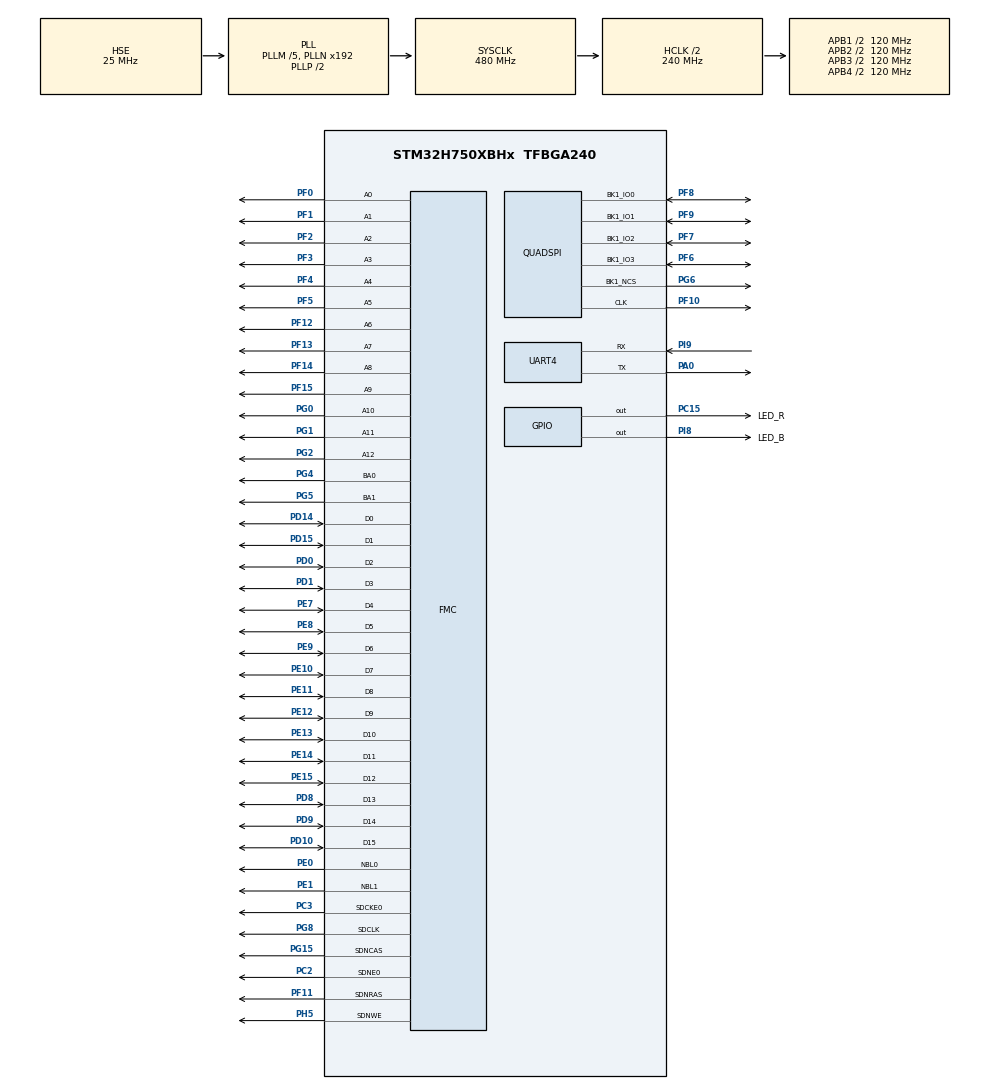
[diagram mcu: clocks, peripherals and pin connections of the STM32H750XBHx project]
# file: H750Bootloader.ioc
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CORTEX_M7.AccessPermission-Cortex_Memory_Protection_Unit_Region0_Settings=MPU_REGION_FULL_ACCESS
CORTEX_M7.AccessPermission-Cortex_Memory_Protection_Unit_Region1_Settings=MPU_REGION_PRIV_RO
CORTEX_M7.AccessPermission-Cortex_Memory_Protection_Unit_Region2_Settings=MPU_REGION_FULL_ACCESS
CORTEX_M7.AccessPermission-Cortex_Memory_Protection_Unit_Region3_Settings=MPU_REGION_FULL_ACCESS
CORTEX_M7.AccessPermission-Cortex_Memory_Protection_Unit_Region4_Settings=MPU_REGION_FULL_ACCESS
CORTEX_M7.AccessPermission-Cortex_Memory_Protection_Unit_Region5_Settings=MPU_REGION_PRIV_RO
CORTEX_M7.AccessPermission-Cortex_Memory_Protection_Unit_Region6_Settings=MPU_REGION_FULL_ACCESS
CORTEX_M7.AccessPermission_S-Cortex_Memory_Protection_Unit_Region1_Settings_S=MPU_REGION_FULL_ACCESS
CORTEX_M7.AccessPermission_S-Cortex_Memory_Protection_Unit_Region2_Settings_S=MPU_REGION_PRIV_RO
CORTEX_M7.AccessPermission_S-Cortex_Memory_Protection_Unit_Region3_Settings_S=MPU_REGION_FULL_ACCESS
CORTEX_M7.AccessPermission_S-Cortex_Memory_Protection_Unit_Region4_Settings_S=MPU_REGION_FULL_ACCESS
CORTEX_M7.AccessPermission_S-Cortex_Memory_Protection_Unit_Region5_Settings_S=MPU_REGION_PRIV_RO
CORTEX_M7.AccessPermission_S-Cortex_Memory_Protection_Unit_Region6_Settings_S=MPU_REGION_FULL_ACCESS
CORTEX_M7.BaseAddress-Cortex_Memory_Protection_Unit_Region0_Settings=0x00000000
CORTEX_M7.BaseAddress-Cortex_Memory_Protection_Unit_Region1_Settings=0x08000000
CORTEX_M7.BaseAddress-Cortex_Memory_Protection_Unit_Region2_Settings=0x20000000
CORTEX_M7.BaseAddress-Cortex_Memory_Protection_Unit_Region3_Settings=0x24040000
CORTEX_M7.BaseAddress-Cortex_Memory_Protection_Unit_Region4_Settings=0x60000000
CORTEX_M7.BaseAddress-Cortex_Memory_Protection_Unit_Region5_Settings=0x90000000
CORTEX_M7.BaseAddress-Cortex_Memory_Protection_Unit_Region6_Settings=0xC0000000
CORTEX_M7.BaseAddress_S-Cortex_Memory_Protection_Unit_Region1_Settings_S=0x00000000
CORTEX_M7.BaseAddress_S-Cortex_Memory_Protection_Unit_Region2_Settings_S=0x08000000
CORTEX_M7.BaseAddress_S-Cortex_Memory_Protection_Unit_Region3_Settings_S=0x20000000
CORTEX_M7.BaseAddress_S-Cortex_Memory_Protection_Unit_Region4_Settings_S=0x24040000
CORTEX_M7.BaseAddress_S-Cortex_Memory_Protection_Unit_Region5_Settings_S=0x90000000
CORTEX_M7.BaseAddress_S-Cortex_Memory_Protection_Unit_Region6_Settings_S=0xC0000000
CORTEX_M7.CPU_DCache=Disabled
CORTEX_M7.CPU_ICache=Disabled
CORTEX_M7.DisableExec-Cortex_Memory_Protection_Unit_Region4_Settings=MPU_INSTRUCTION_ACCESS_DISABLE
CORTEX_M7.DisableExec-Cortex_Memory_Protection_Unit_Region6_Settings=MPU_INSTRUCTION_ACCESS_DISABLE
CORTEX_M7.DisableExec_S-Cortex_Memory_Protection_Unit_Region6_Settings_S=MPU_INSTRUCTION_ACCESS_DISABLE
CORTEX_M7.Enable-Cortex_Memory_Protection_Unit_Region0_Settings=MPU_REGION_ENABLE
CORTEX_M7.Enable-Cortex_Memory_Protection_Unit_Region1_Settings=MPU_REGION_ENABLE
CORTEX_M7.Enable-Cortex_Memory_Protection_Unit_Region2_Settings=MPU_REGION_ENABLE
CORTEX_M7.Enable-Cortex_Memory_Protection_Unit_Region3_Settings=MPU_REGION_ENABLE
CORTEX_M7.Enable-Cortex_Memory_Protection_Unit_Region4_Settings=MPU_REGION_ENABLE
CORTEX_M7.Enable-Cortex_Memory_Protection_Unit_Region5_Settings=MPU_REGION_ENABLE
CORTEX_M7.Enable-Cortex_Memory_Protection_Unit_Region6_Settings=MPU_REGION_ENABLE
CORTEX_M7.Enable_S-Cortex_Memory_Protection_Unit_Region1_Settings_S=MPU_REGION_ENABLE
CORTEX_M7.Enable_S-Cortex_Memory_Protection_Unit_Region2_Settings_S=MPU_REGION_ENABLE
CORTEX_M7.Enable_S-Cortex_Memory_Protection_Unit_Region3_Settings_S=MPU_REGION_ENABLE
CORTEX_M7.Enable_S-Cortex_Memory_Protection_Unit_Region4_Settings_S=MPU_REGION_ENABLE
CORTEX_M7.Enable_S-Cortex_Memory_Protection_Unit_Region5_Settings_S=MPU_REGION_ENABLE
CORTEX_M7.Enable_S-Cortex_Memory_Protection_Unit_Region6_Settings_S=MPU_REGION_ENABLE
CORTEX_M7.IsBufferable-Cortex_Memory_Protection_Unit_Region4_Settings=MPU_ACCESS_BUFFERABLE
CORTEX_M7.IsBufferable-Cortex_Memory_Protection_Unit_Region6_Settings=MPU_ACCESS_BUFFERABLE
CORTEX_M7.IsBufferable_S-Cortex_Memory_Protection_Unit_Region6_Settings_S=MPU_ACCESS_BUFFERABLE
CORTEX_M7.IsCacheable-Cortex_Memory_Protection_Unit_Region1_Settings=MPU_ACCESS_CACHEABLE
CORTEX_M7.IsCacheable-Cortex_Memory_Protection_Unit_Region4_Settings=MPU_ACCESS_CACHEABLE
CORTEX_M7.IsCacheable-Cortex_Memory_Protection_Unit_Region5_Settings=MPU_ACCESS_CACHEABLE
CORTEX_M7.IsCacheable-Cortex_Memory_Protection_Unit_Region6_Settings=MPU_ACCESS_CACHEABLE
CORTEX_M7.IsCacheable_S-Cortex_Memory_Protection_Unit_Region2_Settings_S=MPU_ACCESS_CACHEABLE
CORTEX_M7.IsCacheable_S-Cortex_Memory_Protection_Unit_Region5_Settings_S=MPU_ACCESS_CACHEABLE
CORTEX_M7.IsCacheable_S-Cortex_Memory_Protection_Unit_Region6_Settings_S=MPU_ACCESS_CACHEABLE
CORTEX_M7.IsShareable-Cortex_Memory_Protection_Unit_Region3_Settings=MPU_ACCESS_SHAREABLE
CORTEX_M7.IsShareable_S-Cortex_Memory_Protection_Unit_Region4_Settings_S=MPU_ACCESS_SHAREABLE
CORTEX_M7.MPU_Control=__NULL
CORTEX_M7.Number-Cortex_Memory_Protection_Unit_Region1_Settings=MPU_REGION_NUMBER1
CORTEX_M7.Number-Cortex_Memory_Protection_Unit_Region2_Settings=MPU_REGION_NUMBER2
CORTEX_M7.Number-Cortex_Memory_Protection_Unit_Region3_Settings=MPU_REGION_NUMBER3
CORTEX_M7.Number-Cortex_Memory_Protection_Unit_Region4_Settings=MPU_REGION_NUMBER4
CORTEX_M7.Number-Cortex_Memory_Protection_Unit_Region5_Settings=MPU_REGION_NUMBER5
CORTEX_M7.Number-Cortex_Memory_Protection_Unit_Region6_Settings=MPU_REGION_NUMBER6
CORTEX_M7.Number_S-Cortex_Memory_Protection_Unit_Region2_Settings_S=MPU_REGION_NUMBER2
CORTEX_M7.Number_S-Cortex_Memory_Protection_Unit_Region3_Settings_S=MPU_REGION_NUMBER3
CORTEX_M7.Number_S-Cortex_Memory_Protection_Unit_Region4_Settings_S=MPU_REGION_NUMBER4
CORTEX_M7.Number_S-Cortex_Memory_Protection_Unit_Region5_Settings_S=MPU_REGION_NUMBER5
CORTEX_M7.Number_S-Cortex_Memory_Protection_Unit_Region6_Settings_S=MPU_REGION_NUMBER6
CORTEX_M7.Number_S-Cortex_Memory_Protection_Unit_Region7_Settings_S=MPU_REGION_NUMBER7
CORTEX_M7.Size-Cortex_Memory_Protection_Unit_Region0_Settings=MPU_REGION_SIZE_64KB
CORTEX_M7.Size-Cortex_Memory_Protection_Unit_Region1_Settings=MPU_REGION_SIZE_128KB
CORTEX_M7.Size-Cortex_Memory_Protection_Unit_Region2_Settings=MPU_REGION_SIZE_128KB
CORTEX_M7.Size-Cortex_Memory_Protection_Unit_Region3_Settings=MPU_REGION_SIZE_256KB
CORTEX_M7.Size-Cortex_Memory_Protection_Unit_Region4_Settings=MPU_REGION_SIZE_32MB
CORTEX_M7.Size-Cortex_Memory_Protection_Unit_Region5_Settings=MPU_REGION_SIZE_16MB
CORTEX_M7.Size-Cortex_Memory_Protection_Unit_Region6_Settings=MPU_REGION_SIZE_32MB
CORTEX_M7.Size_S-Cortex_Memory_Protection_Unit_Region1_Settings_S=MPU_REGION_SIZE_64KB
CORTEX_M7.Size_S-Cortex_Memory_Protection_Unit_Region2_Settings_S=MPU_REGION_SIZE_128KB
CORTEX_M7.Size_S-Cortex_Memory_Protection_Unit_Region3_Settings_S=MPU_REGION_SIZE_128KB
CORTEX_M7.Size_S-Cortex_Memory_Protection_Unit_Region4_Settings_S=MPU_REGION_SIZE_256KB
CORTEX_M7.Size_S-Cortex_Memory_Protection_Unit_Region5_Settings_S=MPU_REGION_SIZE_16MB
CORTEX_M7.Size_S-Cortex_Memory_Protection_Unit_Region6_Settings_S=MPU_REGION_SIZE_32MB
CORTEX_M7.SubRegionDisable-Cortex_Memory_Protection_Unit_Region3_Settings=0xE0
CORTEX_M7.SubRegionDisable_S-Cortex_Memory_Protection_Unit_Region4_Settings_S=0xE0
CORTEX_M7.TypeExtField-Cortex_Memory_Protection_Unit_Region0_Settings=MPU_TEX_LEVEL1
CORTEX_M7.TypeExtField-Cortex_Memory_Protection_Unit_Region2_Settings=MPU_TEX_LEVEL1
CORTEX_M7.TypeExtField-Cortex_Memory_Protection_Unit_Region3_Settings=MPU_TEX_LEVEL1
CORTEX_M7.TypeExtField-Cortex_Memory_Protection_Unit_Region4_Settings=MPU_TEX_LEVEL1
CORTEX_M7.TypeExtField-Cortex_Memory_Protection_Unit_Region6_Settings=MPU_TEX_LEVEL1
CORTEX_M7.TypeExtField_S-Cortex_Memory_Protection_Unit_Region1_Settings_S=MPU_TEX_LEVEL1
CORTEX_M7.TypeExtField_S-Cortex_Memory_Protection_Unit_Region3_Settings_S=MPU_TEX_LEVEL1
CORTEX_M7.TypeExtField_S-Cortex_Memory_Protection_Unit_Region4_Settings_S=MPU_TEX_LEVEL1
CORTEX_M7.TypeExtField_S-Cortex_Memory_Protection_Unit_Region6_Settings_S=MPU_TEX_LEVEL1
CORTEX_M7.default_mode_Activation=0
FMC.BankMapConfig=FMC_SWAPBMAP_DISABLE
FMC.CASLatency1=FMC_SDRAM_CAS_LATENCY_2
FMC.ColumnBitsNumber1=FMC_SDRAM_COLUMN_BITS_NUM_9
FMC.ExitSelfRefreshDelay1=8
FMC.LoadToActiveDelay1=2
FMC.RCDDelay1=2
FMC.RPDelay1=2
FMC.ReadBurst1=FMC_SDRAM_RBURST_ENABLE
FMC.ReadBurst2=FMC_SDRAM_RBURST_ENABLE
FMC.ReadPipeDelay1=FMC_SDRAM_RPIPE_DELAY_0
FMC.RowCycleDelay1=6
FMC.RowCycleDelay2=6
FMC.SDClockPeriod1=FMC_SDRAM_CLOCK_PERIOD_2
FMC.SDClockPeriod2=FMC_SDRAM_CLOCK_PERIOD_2
FMC.SelfRefreshTime1=6
FMC.WriteRecoveryTime1=4
Mcu.Family=STM32H7
Mcu.Name=STM32H750XBHx
Mcu.Package=TFBGA240
NVIC.PriorityGroup=NVIC_PRIORITYGROUP_4
PA0.GPIO_Speed=GPIO_SPEED_FREQ_LOW
PA0.Mode=Asynchronous
PA0.Signal=UART4_TX
PA13\ (JTMS/SWDIO).Mode=Serial_Wire
PA13\ (JTMS/SWDIO).Signal=DEBUG_JTMS-SWDIO
PA14\ (JTCK/SWCLK).Mode=Serial_Wire
PA14\ (JTCK/SWCLK).Signal=DEBUG_JTCK-SWCLK
PC14-OSC32_IN\ (OSC32_IN).Mode=LSE-External-Clock-Source
PC14-OSC32_IN\ (OSC32_IN).Signal=RCC_OSC32_IN
PC15-OSC32_OUT\ (OSC32_OUT).GPIO_Label=LED_R
PC15-OSC32_OUT\ (OSC32_OUT).GPIO_ModeDefaultOutputPP=GPIO_MODE_OUTPUT_PP
PC15-OSC32_OUT\ (OSC32_OUT).GPIO_Speed=GPIO_SPEED_FREQ_LOW
PC15-OSC32_OUT\ (OSC32_OUT).PinState=GPIO_PIN_SET
PC15-OSC32_OUT\ (OSC32_OUT).Signal=GPIO_Output
PC2.Mode=SdramChipSelect1_1
PC2.Signal=FMC_SDNE0
PC3.Mode=SdramChipSelect1_1
PC3.Signal=FMC_SDCKE0
PD0.Signal=FMC_D2_DA2
PD1.Signal=FMC_D3_DA3
PD10.Signal=FMC_D15_DA15
PD14.Signal=FMC_D0_DA0
PD15.Signal=FMC_D1_DA1
PD8.Signal=FMC_D13_DA13
PD9.Signal=FMC_D14_DA14
PE0.Signal=FMC_NBL0
PE1.Signal=FMC_NBL1
PE10.Signal=FMC_D7_DA7
PE11.Signal=FMC_D8_DA8
PE12.Signal=FMC_D9_DA9
PE13.Signal=FMC_D10_DA10
PE14.Signal=FMC_D11_DA11
PE15.Signal=FMC_D12_DA12
PE7.Signal=FMC_D4_DA4
PE8.Signal=FMC_D5_DA5
PE9.Signal=FMC_D6_DA6
PF0.Signal=FMC_A0
PF1.Signal=FMC_A1
PF10.GPIO_Speed=GPIO_SPEED_FREQ_VERY_HIGH
PF10.Mode=Single Bank 1
PF10.Signal=QUADSPI_CLK
PF11.Signal=FMC_SDNRAS
PF12.Signal=FMC_A6
PF13.Signal=FMC_A7
PF14.Signal=FMC_A8
PF15.Signal=FMC_A9
PF2.Signal=FMC_A2
PF3.Signal=FMC_A3
PF4.Signal=FMC_A4
PF5.Signal=FMC_A5
PF6.GPIO_Speed=GPIO_SPEED_FREQ_VERY_HIGH
PF6.Mode=Single Bank 1
PF6.Signal=QUADSPI_BK1_IO3
PF7.GPIO_Speed=GPIO_SPEED_FREQ_VERY_HIGH
PF7.Mode=Single Bank 1
PF7.Signal=QUADSPI_BK1_IO2
PF8.GPIO_Speed=GPIO_SPEED_FREQ_VERY_HIGH
PF8.Mode=Single Bank 1
PF8.Signal=QUADSPI_BK1_IO0
PF9.GPIO_Speed=GPIO_SPEED_FREQ_VERY_HIGH
PF9.Mode=Single Bank 1
PF9.Signal=QUADSPI_BK1_IO1
PG0.Signal=FMC_A10
PG1.Signal=FMC_A11
PG15.Signal=FMC_SDNCAS
PG2.Signal=FMC_A12
PG4.Signal=FMC_A14_BA0
PG5.Signal=FMC_A15_BA1
PG6.GPIO_Speed=GPIO_SPEED_FREQ_VERY_HIGH
PG6.Mode=Single Bank 1
PG6.Signal=QUADSPI_BK1_NCS
PG8.Signal=FMC_SDCLK
PH0-OSC_IN\ (PH0).Mode=HSE-External-Oscillator
PH0-OSC_IN\ (PH0).Signal=RCC_OSC_IN
PH1-OSC_OUT\ (PH1).Mode=HSE-External-Oscillator
PH1-OSC_OUT\ (PH1).Signal=RCC_OSC_OUT
PH5.Signal=FMC_SDNWE
PI8.GPIO_Label=LED_B
PI8.GPIO_ModeDefaultOutputPP=GPIO_MODE_OUTPUT_PP
PI8.GPIO_Speed=GPIO_SPEED_FREQ_LOW
PI8.PinState=GPIO_PIN_SET
PI8.Signal=GPIO_Output
PI9.GPIO_Speed=GPIO_SPEED_FREQ_LOW
PI9.Mode=Asynchronous
PI9.Signal=UART4_RX
ProjectManager.HeapSize=0x200
ProjectManager.StackSize=0x400
ProjectManager.TargetToolchain=CMake
QUADSPI.ClockPrescaler=1
QUADSPI.FlashSize=24
RCC.ADCFreq_Value=300000000
RCC.APB1Freq_Value=120000000
RCC.APB2Freq_Value=120000000
RCC.APB3Freq_Value=120000000
RCC.APB4Freq_Value=120000000
RCC.CortexFreq_Value=480000000
RCC.D1PPRE=RCC_APB3_DIV2
RCC.D2PPRE1=RCC_APB1_DIV2
RCC.D2PPRE2=RCC_APB2_DIV2
RCC.D3PPRE=RCC_APB4_DIV2
RCC.DIVM1=5
RCC.DIVM2=2
RCC.DIVM3=1
RCC.DIVN1=192
RCC.DIVN2=48
RCC.DIVN3=6
RCC.DIVQ2=3
RCC.DIVQ3=1
RCC.DIVR2=3
RCC.DIVR3=1
RCC.FMCCLockSelection=RCC_FMCCLKSOURCE_PLL2
RCC.HCLKFreq_Value=240000000
RCC.HPRE=RCC_HCLK_DIV2
RCC.PLL2FRACN=0
RCC.PLL3FRACN=0
RCC.PLLFRACN=0
RCC.PLLSourceVirtual=RCC_PLLSOURCE_HSE
RCC.ProductRev=revV
RCC.QSPICLockSelection=RCC_QSPICLKSOURCE_PLL2
RCC.SYSCLKFreq_VALUE=480000000
RCC.SYSCLKSource=RCC_SYSCLKSOURCE_PLLCLK
RCC.USBFreq_Value=480000000
SH.FMC_A0.0=FMC_A0,13b-sda1
SH.FMC_A1.0=FMC_A1,13b-sda1
SH.FMC_A10.0=FMC_A10,13b-sda1
SH.FMC_A11.0=FMC_A11,13b-sda1
SH.FMC_A12.0=FMC_A12,13b-sda1
SH.FMC_A14_BA0.0=FMC_BA0,FourSdramBanks1
SH.FMC_A15_BA1.0=FMC_BA1,FourSdramBanks1
SH.FMC_A2.0=FMC_A2,13b-sda1
SH.FMC_A3.0=FMC_A3,13b-sda1
SH.FMC_A4.0=FMC_A4,13b-sda1
SH.FMC_A5.0=FMC_A5,13b-sda1
SH.FMC_A6.0=FMC_A6,13b-sda1
SH.FMC_A7.0=FMC_A7,13b-sda1
SH.FMC_A8.0=FMC_A8,13b-sda1
SH.FMC_A9.0=FMC_A9,13b-sda1
SH.FMC_D0_DA0.0=FMC_D0,sd-16b-d1
SH.FMC_D10_DA10.0=FMC_D10,sd-16b-d1
SH.FMC_D11_DA11.0=FMC_D11,sd-16b-d1
SH.FMC_D12_DA12.0=FMC_D12,sd-16b-d1
SH.FMC_D13_DA13.0=FMC_D13,sd-16b-d1
SH.FMC_D14_DA14.0=FMC_D14,sd-16b-d1
SH.FMC_D15_DA15.0=FMC_D15,sd-16b-d1
SH.FMC_D1_DA1.0=FMC_D1,sd-16b-d1
SH.FMC_D2_DA2.0=FMC_D2,sd-16b-d1
SH.FMC_D3_DA3.0=FMC_D3,sd-16b-d1
SH.FMC_D4_DA4.0=FMC_D4,sd-16b-d1
SH.FMC_D5_DA5.0=FMC_D5,sd-16b-d1
SH.FMC_D6_DA6.0=FMC_D6,sd-16b-d1
SH.FMC_D7_DA7.0=FMC_D7,sd-16b-d1
SH.FMC_D8_DA8.0=FMC_D8,sd-16b-d1
SH.FMC_D9_DA9.0=FMC_D9,sd-16b-d1
SH.FMC_NBL0.0=FMC_NBL0,Sd2ByteEnable1
SH.FMC_NBL1.0=FMC_NBL1,Sd2ByteEnable1
SH.FMC_SDCLK.0=FMC_SDCLK,13b-sda1
SH.FMC_SDNCAS.0=FMC_SDNCAS,13b-sda1
SH.FMC_SDNRAS.0=FMC_SDNRAS,13b-sda1
SH.FMC_SDNWE.0=FMC_SDNWE,13b-sda1
VP_MEMORYMAP_VS_MEMORYMAP.Mode=CurAppReg
board=custom

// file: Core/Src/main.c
/* USER CODE BEGIN Header */
/**
 ******************************************************************************
 * @file           : main.c
 * @brief          : Main program body
 ******************************************************************************
 * @attention
 *
 * Copyright (c) 2025 STMicroelectronics.
 * All rights reserved.
 *
 * This software is licensed under terms that can be found in the LICENSE file
 * in the root directory of this software component.
 * If no LICENSE file comes with this software, it is provided AS-IS.
 *
 ******************************************************************************
 */
/* USER CODE END Header */
#include "main.h"
#include "cmsis_gcc.h"
#include "memorymap.h"
#include "quadspi.h"
#include "usart.h"
#include "gpio.h"
#include "fmc.h"

/* USER CODE BEGIN Includes */
#include <cmsis_compiler.h>
/* USER CODE END Includes */

/* USER CODE BEGIN PD */
#define SDRAM_MODEREG_BURST_LENGTH_1 (0x0000)
#define SDRAM_MODEREG_BURST_LENGTH_2 (0x0001)
#define SDRAM_MODEREG_BURST_LENGTH_4 (0x0002)
#define SDRAM_MODEREG_BURST_LENGTH_8 (0x0004)
#define SDRAM_MODEREG_BURST_TYPE_SEQUENTIAL (0x0000)
#define SDRAM_MODEREG_BURST_TYPE_INTERLEAVED (0x0008)
#define SDRAM_MODEREG_CAS_LATENCY_2 (0x0020)
#define SDRAM_MODEREG_CAS_LATENCY_3 (0x0030)
#define SDRAM_MODEREG_OPERATING_MODE_STANDARD (0x0000)
#define SDRAM_MODEREG_WRITEBURST_MODE_PROGRAMMED (0x0000)
#define SDRAM_MODEREG_WRITEBURST_MODE_SINGLE (0x0200)

#define FLASH_CMD_FastReadQuad_IO 0xEB

/* USER CODE END PD */

void SystemClock_Config(void);
void PeriphCommonClock_Config(void);

/* USER CODE BEGIN 0 */
int sdram_command(uint32_t cmd, uint32_t refresh, uint32_t regval)
{
    FMC_SDRAM_CommandTypeDef sdram_cmd = {};
    sdram_cmd.CommandMode = cmd;
    sdram_cmd.CommandTarget = FMC_SDRAM_CMD_TARGET_BANK1;
    sdram_cmd.AutoRefreshNumber = refresh;
    sdram_cmd.ModeRegisterDefinition = regval;
    if (HAL_SDRAM_SendCommand(&hsdram1, &sdram_cmd, 100) != HAL_OK)
    {
        Error_Handler();
    }
    return HAL_OK;
}

int sdram_test()
{
    uint32_t sdram_size = 32 * 1024 * 1024;
    uint32_t *ptr = (uint32_t *)0xC0000000;

    for (uint32_t i = 0; i < sdram_size / sizeof(int); i++)
    {
        ptr[i] = i;
    }

    for (uint32_t i = 0; i < sdram_size / sizeof(int); i++)
    {
        if (ptr[i] != i)
            return -1;
    }

    for (uint32_t i = 0; i < sdram_size / sizeof(int); i++)
    {
        ptr[i] = 0;
    }

    return 0;
}

int sdram_init()
{
    sdram_command(FMC_SDRAM_CMD_CLK_ENABLE, 1, 0);
    HAL_Delay(1);
    sdram_command(FMC_SDRAM_CMD_PALL, 1, 0);
    sdram_command(FMC_SDRAM_CMD_AUTOREFRESH_MODE, 8, 0);
    uint32_t temp = SDRAM_MODEREG_BURST_LENGTH_1 | SDRAM_MODEREG_BURST_TYPE_SEQUENTIAL | SDRAM_MODEREG_CAS_LATENCY_2 |
                    SDRAM_MODEREG_OPERATING_MODE_STANDARD | SDRAM_MODEREG_WRITEBURST_MODE_SINGLE;
    sdram_command(FMC_SDRAM_CMD_LOAD_MODE, 1, temp);
    if (HAL_SDRAM_ProgramRefreshRate(&hsdram1, 761) != HAL_OK)
    {
        Error_Handler();
    }

    // HAL_Delay(1);
    // if (sdram_test() != 0)
    // {
    //     Error_Handler();
    // }
    return 0;
}

int qspiflash_init()
{
    QSPI_CommandTypeDef sCommand = {};
    QSPI_MemoryMappedTypeDef sMemMappedCfg = {};
    sCommand.InstructionMode = QSPI_INSTRUCTION_1_LINE;
    sCommand.AddressSize = QSPI_ADDRESS_24_BITS;
    sCommand.AddressMode = QSPI_ADDRESS_4_LINES;
    sCommand.Instruction = FLASH_CMD_FastReadQuad_IO;
    sCommand.Address = 0;
    sCommand.NbData = 0;
    sCommand.DataMode = QSPI_DATA_4_LINES;
    sCommand.DummyCycles = 6;

    sMemMappedCfg.TimeOutActivation = QSPI_TIMEOUT_COUNTER_DISABLE;
    sMemMappedCfg.TimeOutPeriod = 0;

    if (HAL_QSPI_MemoryMapped(&hqspi, &sCommand, &sMemMappedCfg) != HAL_OK)
    {
        Error_Handler();
    }
    return 0;
}
/* USER CODE END 0 */

int main(void)
{

  /* MCU Configuration--------------------------------------------------------*/

  /* Reset of all peripherals, Initializes the Flash interface and the Systick. */
  HAL_Init();

  /* Configure the system clock */
  SystemClock_Config();

  /* Configure the peripherals common clocks */
  PeriphCommonClock_Config();

  /* Initialize all configured peripherals */
  MX_GPIO_Init();
  MX_FMC_Init();
  MX_QUADSPI_Init();
  MX_UART4_Init();
  /* USER CODE BEGIN 2 */
    sdram_init();
    qspiflash_init();
  /* USER CODE END 2 */

  /* Infinite loop */
  /* USER CODE BEGIN WHILE */

    uint32_t *flash_addr = (uint32_t *)0x90000000;
    uint32_t msp_addr = flash_addr[0];
    uint32_t entry_addr = flash_addr[1];

    if (msp_addr != 0xFFFFFFFF && entry_addr != 0xFFFFFFFF)
    {
        HAL_UART_DeInit(&huart4);
        __disable_irq();
        __set_MSP(msp_addr);
        __ASM volatile("bx %0" :: "r"(entry_addr));
    }

    Error_Handler();

    while (1)
    {
        HAL_GPIO_TogglePin(LED_B_GPIO_Port, LED_B_Pin);
        HAL_Delay(300);
    /* USER CODE END WHILE */

    }
}

void SystemClock_Config(void)
{
  RCC_OscInitTypeDef RCC_OscInitStruct = {0};
  RCC_ClkInitTypeDef RCC_ClkInitStruct = {0};

  /** Supply configuration update enable
  */
  HAL_PWREx_ConfigSupply(PWR_LDO_SUPPLY);

  /** Configure the main internal regulator output voltage
  */
  __HAL_PWR_VOLTAGESCALING_CONFIG(PWR_REGULATOR_VOLTAGE_SCALE1);

  while(!__HAL_PWR_GET_FLAG(PWR_FLAG_VOSRDY)) {}

  __HAL_RCC_SYSCFG_CLK_ENABLE();
  __HAL_PWR_VOLTAGESCALING_CONFIG(PWR_REGULATOR_VOLTAGE_SCALE0);

  while(!__HAL_PWR_GET_FLAG(PWR_FLAG_VOSRDY)) {}

  /** Initializes the RCC Oscillators according to the specified parameters
  * in the RCC_OscInitTypeDef structure.
  */
  RCC_OscInitStruct.OscillatorType = RCC_OSCILLATORTYPE_HSE;
  RCC_OscInitStruct.HSEState = RCC_HSE_ON;
  RCC_OscInitStruct.PLL.PLLState = RCC_PLL_ON;
  RCC_OscInitStruct.PLL.PLLSource = RCC_PLLSOURCE_HSE;
  RCC_OscInitStruct.PLL.PLLM = 5;
  RCC_OscInitStruct.PLL.PLLN = 192;
  RCC_OscInitStruct.PLL.PLLP = 2;
  RCC_OscInitStruct.PLL.PLLQ = 2;
  RCC_OscInitStruct.PLL.PLLR = 2;
  RCC_OscInitStruct.PLL.PLLRGE = RCC_PLL1VCIRANGE_2;
  RCC_OscInitStruct.PLL.PLLVCOSEL = RCC_PLL1VCOWIDE;
  RCC_OscInitStruct.PLL.PLLFRACN = 0;
  if (HAL_RCC_OscConfig(&RCC_OscInitStruct) != HAL_OK)
  {
    Error_Handler();
  }

  /** Initializes the CPU, AHB and APB buses clocks
  */
  RCC_ClkInitStruct.ClockType = RCC_CLOCKTYPE_HCLK|RCC_CLOCKTYPE_SYSCLK
                              |RCC_CLOCKTYPE_PCLK1|RCC_CLOCKTYPE_PCLK2
                              |RCC_CLOCKTYPE_D3PCLK1|RCC_CLOCKTYPE_D1PCLK1;
  RCC_ClkInitStruct.SYSCLKSource = RCC_SYSCLKSOURCE_PLLCLK;
  RCC_ClkInitStruct.SYSCLKDivider = RCC_SYSCLK_DIV1;
  RCC_ClkInitStruct.AHBCLKDivider = RCC_HCLK_DIV2;
  RCC_ClkInitStruct.APB3CLKDivider = RCC_APB3_DIV2;
  RCC_ClkInitStruct.APB1CLKDivider = RCC_APB1_DIV2;
  RCC_ClkInitStruct.APB2CLKDivider = RCC_APB2_DIV2;
  RCC_ClkInitStruct.APB4CLKDivider = RCC_APB4_DIV2;

  if (HAL_RCC_ClockConfig(&RCC_ClkInitStruct, FLASH_LATENCY_4) != HAL_OK)
  {
    Error_Handler();
  }
}

void PeriphCommonClock_Config(void)
{
  RCC_PeriphCLKInitTypeDef PeriphClkInitStruct = {0};

  /** Initializes the peripherals clock
  */
  PeriphClkInitStruct.PeriphClockSelection = RCC_PERIPHCLK_FMC|RCC_PERIPHCLK_QSPI;
  PeriphClkInitStruct.PLL2.PLL2M = 2;
  PeriphClkInitStruct.PLL2.PLL2N = 48;
  PeriphClkInitStruct.PLL2.PLL2P = 2;
  PeriphClkInitStruct.PLL2.PLL2Q = 3;
  PeriphClkInitStruct.PLL2.PLL2R = 3;
  PeriphClkInitStruct.PLL2.PLL2RGE = RCC_PLL2VCIRANGE_3;
  PeriphClkInitStruct.PLL2.PLL2VCOSEL = RCC_PLL2VCOWIDE;
  PeriphClkInitStruct.PLL2.PLL2FRACN = 0;
  PeriphClkInitStruct.FmcClockSelection = RCC_FMCCLKSOURCE_PLL2;
  PeriphClkInitStruct.QspiClockSelection = RCC_QSPICLKSOURCE_PLL2;
  if (HAL_RCCEx_PeriphCLKConfig(&PeriphClkInitStruct) != HAL_OK)
  {
    Error_Handler();
  }
}

void Error_Handler(void)
{
  /* USER CODE BEGIN Error_Handler_Debug */
    /* User can add his own implementation to report the HAL error return state */
    __disable_irq();
    HAL_GPIO_WritePin(LED_R_GPIO_Port, LED_R_Pin, GPIO_PIN_RESET);

    __BKPT(0);
    while (1)
    {
    }
  /* USER CODE END Error_Handler_Debug */
}
